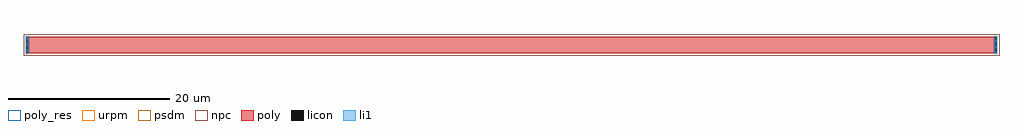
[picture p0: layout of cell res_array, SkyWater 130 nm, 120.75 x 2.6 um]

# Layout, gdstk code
import gdstk
lib = gdstk.Library(unit=1e-6, precision=1e-09)
def R(c, l, rs):  # rectangles x0, y0, x1, y1
    for r in rs: c.add(gdstk.rectangle(r[:2], r[2:], *l))
poly_res = (66, 13)
poly = (66, 20)
licon = (66, 44)
li1 = (67, 20)
urpm = (79, 20)
psdm = (94, 20)
npc = (95, 20)

res_array = lib.new_cell('res_array')
R(res_array, poly_res, [(0.39,0,119.86,2)])
R(res_array, poly, [(0,-0.1,0.39,2.1), (119.86,-0.1,120.25,2.1), (0,0,120.25,2)])
R(res_array, licon, [(0.1,0,0.29,2), (119.96,0,120.15,2)])
R(res_array, li1, [(0,-0.1,0.39,2.1), (119.86,-0.1,120.25,2.1)])
R(res_array, urpm, [(-0.25,-0.3,120.5,2.3)])
R(res_array, psdm, [(-0.25,-0.3,120.5,2.3)])
R(res_array, npc, [(-0.25,-0.3,120.5,2.3)])

lib.write_gds('res_array.gds')
